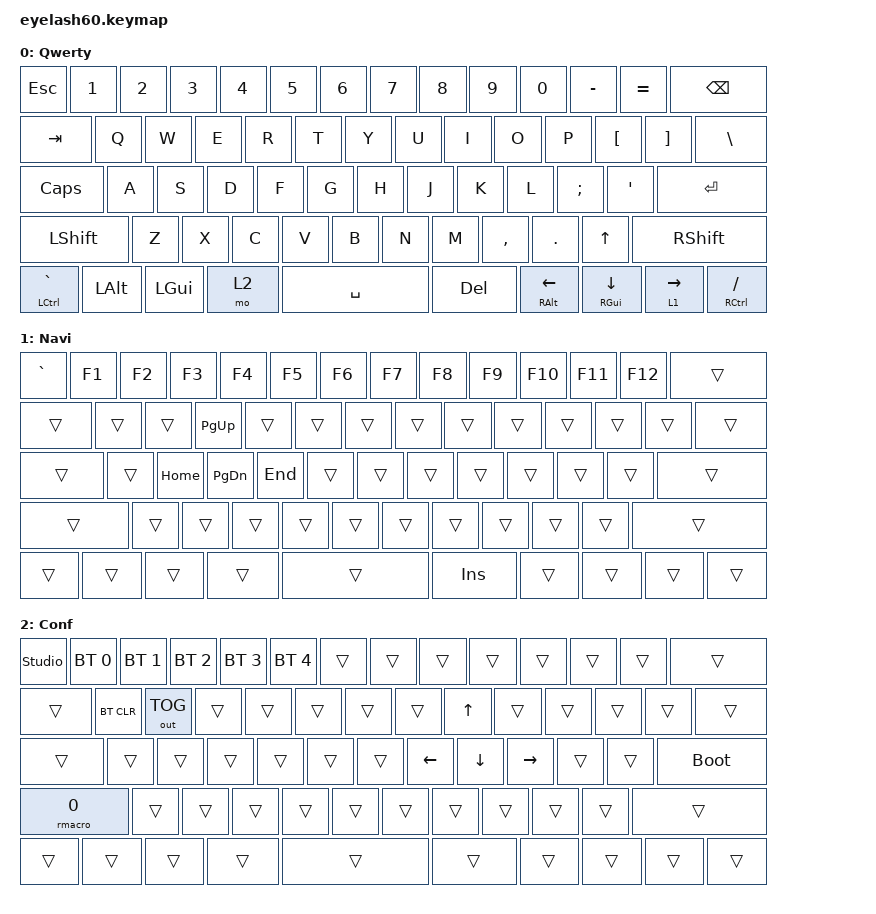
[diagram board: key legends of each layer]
/*
 * SPDX-License-Identifier: MIT
 */

#include <behaviors/mouse_keys.dtsi>
#include <dt-bindings/zmk/mouse.h>
#include <behaviors.dtsi>
#include <behaviors/runtime_macro.dtsi>
#include <dt-bindings/zmk/bt.h>
#include <dt-bindings/zmk/keys.h>
#include <dt-bindings/zmk/outputs.h>

/ {
    behaviors {
        hm: homerow_mods {
            compatible = "zmk,behavior-hold-tap";
            label = "HOMEROW_MODS";
            bindings = <&kp>, <&kp>;

            #binding-cells = <2>;
            tapping-term-ms = <200>;
            quick-tap-ms = <180>;
            flavor = "tap-preferred";
        };

        ltq: ltq {
            compatible = "zmk,behavior-hold-tap";
            label = "LTQ";
            bindings = <&mo>, <&kp>;

            #binding-cells = <2>;
            tapping-term-ms = <200>;
            quick-tap-ms = <180>;
        };

        as: auto_shift {
            compatible = "zmk,behavior-hold-tap";
            label = "AUTO_SHIFT";
            bindings = <&kp>, <&kp>;

            #binding-cells = <2>;
            tapping-term-ms = <135>;
            quick-tap-ms = <0>;
        };
    };

    keymap {
        compatible = "zmk,keymap";

        Qwery {
            display-name = "Qwerty";
            bindings = <
&kp ESC          &kp N1    &kp N2    &kp N3  &kp N4     &kp N5   &kp N6         &kp N7         &kp N8       &kp N9          &kp N0    &kp MINUS  &kp EQUAL  &kp BSPC
&kp TAB          &kp Q     &kp W     &kp E   &kp R      &kp T    &kp Y          &kp U          &kp I        &kp O           &kp P     &kp LBKT   &kp RBKT   &kp BSLH
&kp CAPS         &kp A     &kp S     &kp D   &kp F      &kp G    &kp H          &kp J          &kp K        &kp L           &kp SEMI  &kp APOS   &kp ENTER
&kp LEFT_SHIFT   &kp Z     &kp X     &kp C   &kp V      &kp B    &kp N          &kp M          &kp COMMA    &kp DOT         &kp UP    &kp RSHFT
&mt LCTRL GRAVE  &kp LALT  &kp LGUI  &mo 2   &kp SPACE  &kp DEL  &mt RALT LEFT  &mt RGUI DOWN  &lt 1 RIGHT  &mt RCTRL FSLH
            >;
        };

        Navi {
            display-name = "Navi";
            bindings = <
&kp GRAVE  &kp F1  &kp F2    &kp F3     &kp F4   &kp F5   &kp F6  &kp F7  &kp F8  &kp F9  &kp F10  &kp F11  &kp F12  &trans
&trans     &trans  &trans    &kp PG_UP  &trans   &trans   &trans  &trans  &trans  &trans  &trans   &trans   &trans   &trans
&trans     &trans  &kp HOME  &kp PG_DN  &kp END  &trans   &trans  &trans  &trans  &trans  &trans   &trans   &trans
&trans     &trans  &trans    &trans     &trans   &trans   &trans  &trans  &trans  &trans  &trans   &trans
&trans     &trans  &trans    &trans     &trans   &kp INS  &trans  &trans  &trans  &trans
            >;
        };

        Conf {
            display-name = "Conf";
            bindings = <
&studio_unlock  &bt BT_SEL 0  &bt BT_SEL 1  &bt BT_SEL 2  &bt BT_SEL 3  &bt BT_SEL 4  &trans  &trans    &trans    &trans     &trans  &trans  &trans       &trans
&trans          &bt BT_CLR    &out OUT_TOG  &trans        &trans        &trans        &trans  &trans    &kp UP    &trans     &trans  &trans  &trans       &trans
&trans          &trans        &trans        &trans        &trans        &trans        &trans  &kp LEFT  &kp DOWN  &kp RIGHT  &trans  &trans  &bootloader
&rmacro 0       &trans        &trans        &trans        &trans        &trans        &trans  &trans    &trans    &trans     &trans  &trans
&trans          &trans        &trans        &trans        &trans        &trans        &trans  &trans    &trans    &trans
            >;
        };
    };
};
